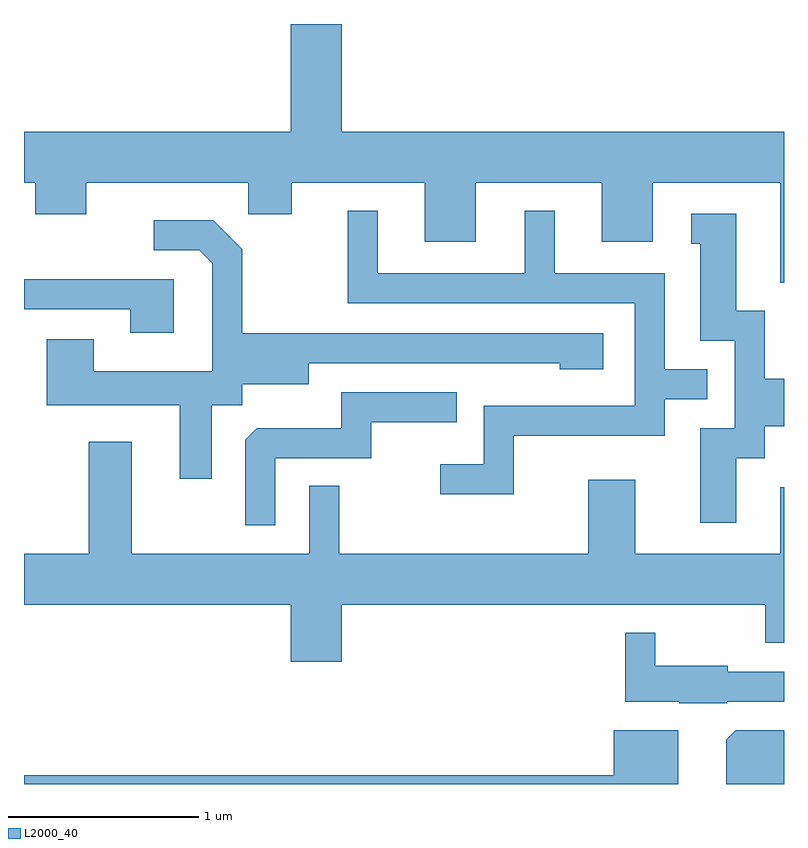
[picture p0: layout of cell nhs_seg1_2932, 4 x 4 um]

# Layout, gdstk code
import gdstk
lib = gdstk.Library(unit=1e-6, precision=1e-09)
def P(c, l, *ps):  # polygons
    for p in ps: c.add(gdstk.Polygon(p, *l))
L2000_40 = (2000, 40)

nhs_seg1_2932 = lib.new_cell('nhs_seg1_2932')
P(nhs_seg1_2932, L2000_40, [(277.611,933.144),(275.284,933.144),(275.284,933.712),(275.016,933.712),(275.016,933.144),(273.611,933.144),(273.611,932.876),(273.671,932.876),(273.671,932.711),(273.939,932.711),(273.939,932.876),(274.791,932.876),(274.791,932.711),(275.019,932.711),(275.019,932.876),(275.721,932.876),(275.721,932.566),(275.989,932.566),(275.989,932.876),(276.651,932.876),(276.651,932.566),(276.919,932.566),(276.919,932.876),(277.591,932.876),(277.591,932.351),(277.611,932.351)],
  [(276.189,931.546),(276.984,931.546),(276.984,931.736),(277.208,931.736),(277.208,931.894),(276.984,931.894),(276.984,932.399),(276.404,932.399),(276.404,932.728),(276.246,932.728),(276.246,932.399),(275.474,932.399),(275.474,932.728),(275.316,932.728),(275.316,932.241),(276.826,932.241),(276.826,931.704),(276.031,931.704),(276.031,931.394),(275.803,931.394),(275.803,931.236),(276.189,931.236)],
  [(277.359,931.426),(277.509,931.426),(277.509,931.596),(277.611,931.596),(277.611,931.844),(277.509,931.844),(277.509,932.204),(277.359,932.204),(277.359,932.714),(277.123,932.714),(277.123,932.556),(277.171,932.556),(277.171,932.046),(277.351,932.046),(277.351,931.584),(277.171,931.584),(277.171,931.086),(277.359,931.086)],
  [(274.599,931.706),(274.759,931.706),(274.759,931.816),(275.109,931.816),(275.109,931.926),(276.431,931.926),(276.431,931.896),(276.659,931.896),(276.659,932.084),(274.759,932.084),(274.759,932.527),(274.607,932.679),(274.293,932.679),(274.293,932.521),(274.534,932.521),(274.601,932.454),(274.601,931.884),(273.979,931.884),(273.979,932.054),(273.731,932.054),(273.731,931.706),(274.431,931.706),(274.431,931.318),(274.599,931.318)],
  [(274.399,932.369),(273.611,932.369),(273.611,932.211),(274.171,932.211),(274.171,932.086),(274.399,932.086)],
  [(274.934,931.426),(275.439,931.426),(275.439,931.616),(275.888,931.616),(275.888,931.774),(275.281,931.774),(275.281,931.584),(274.837,931.584),(274.776,931.524),(274.776,931.073),(274.934,931.073)],
  [(275.284,930.656),(277.511,930.656),(277.511,930.456),(277.611,930.456),(277.611,931.274),(277.591,931.274),(277.591,930.924),(276.829,930.924),(276.829,931.314),(276.581,931.314),(276.581,930.924),(275.269,930.924),(275.269,931.283),(275.111,931.283),(275.111,930.924),(274.179,930.924),(274.179,931.514),(273.951,931.514),(273.951,930.924),(273.611,930.924),(273.611,930.656),(275.016,930.656),(275.016,930.356),(275.284,930.356)],
  [(277.31,930.146),(277.611,930.146),(277.611,930.304),(277.314,930.304),(277.314,930.334),(276.934,930.334),(276.934,930.508),(276.776,930.508),(276.776,930.146),(277.06,930.146),(277.06,930.136),(277.31,930.136)],
  [(277.611,929.994),(277.357,929.994),(277.306,929.944),(277.306,929.712),(277.611,929.712)],
  [(277.054,929.994),(276.716,929.994),(276.716,929.759),(273.611,929.759),(273.611,929.712),(277.054,929.712)])

lib.write_gds('nhs_seg1_2932.gds')
